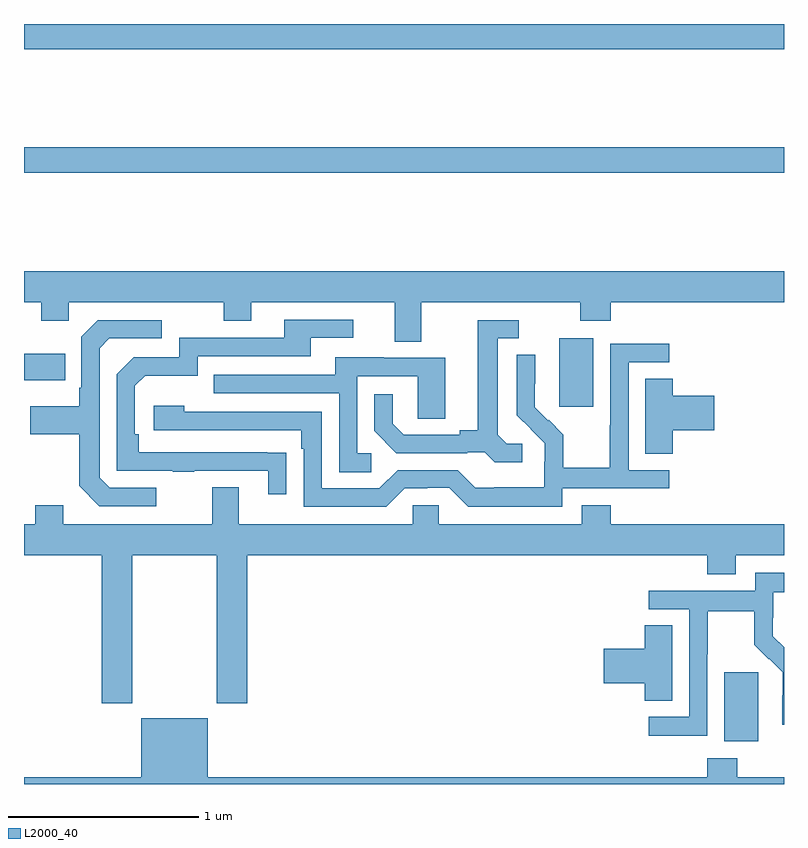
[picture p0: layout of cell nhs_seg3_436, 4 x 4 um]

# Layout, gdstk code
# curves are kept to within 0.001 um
import gdstk
lib = gdstk.Library(unit=1e-6, precision=1e-09)
def R(c, l, rs):  # rectangles x0, y0, x1, y1
    for r in rs: c.add(gdstk.rectangle(r[:2], r[2:], *l))
def P(c, l, *ps):  # polygons
    for p in ps: c.add(gdstk.Polygon(p, *l))
L2000_40 = (2000, 40)

nhs_seg3_436 = lib.new_cell('nhs_seg3_436')
R(nhs_seg3_436, L2000_40, [(136.685,678.626,136.864,678.987), (135.818,680.385,135.997,680.746), (133,680.525,133.217,680.665), (133,681.616,137,681.752), (133,682.268,137,682.4)])
P(nhs_seg3_436, L2000_40, [(135.091,680.936),(135.928,680.936),(135.928,680.837),(136.088,680.837),(136.088,680.936),(137,680.936),(137,681.1),(133,681.1),(133,680.936),(133.09,680.936),(133.09,680.837),(133.236,680.837),(133.236,680.936),(134.05,680.936),(134.05,680.837),(134.197,680.837),(134.197,680.936),(134.951,680.936),(134.951,680.728),(135.091,680.728)],
  [(134.381,680.144),(133.604,680.145),(133.604,680.242),(133.584,680.242),(133.584,680.496),(133.637,680.549),(133.914,680.549),(133.914,680.652),(134.509,680.652),(134.509,680.748),(134.734,680.748),(134.734,680.844),(134.369,680.844),(134.369,680.748),(133.818,680.748),(133.818,680.646),(133.578,680.646),(133.488,680.556),(133.488,680.049),(133.783,680.049),(133.783,680.044),(133.895,680.044),(133.895,680.049),(134.285,680.049),(134.285,679.926),(134.381,679.926)],
  [(133.696,679.959),(133.452,679.959),(133.398,680.013),(133.398,680.694),(133.449,680.745),(133.726,680.745),(133.726,680.841),(133.389,680.841),(133.302,680.754),(133.302,680.485),(133.29,680.485),(133.29,680.389),(133.033,680.389),(133.033,680.242),(133.29,680.242),(133.29,679.969),(133.395,679.863),(133.696,679.863)],
  [(135.622,680.19),(135.54,680.19),(135.493,680.237),(135.493,680.745),(135.604,680.745),(135.604,680.841),(135.389,680.841),(135.389,680.261),(135.293,680.261),(135.293,680.238),(134.998,680.238),(134.941,680.295),(134.941,680.452),(134.844,680.452),(134.844,680.258),(134.96,680.142),(135.332,680.142),(135.332,680.145),(135.426,680.145),(135.478,680.093),(135.622,680.093)],
  [(135.834,679.956),(136.396,679.956),(136.396,680.052),(136.182,680.052),(136.182,680.619),(136.396,680.619),(136.396,680.718),(136.086,680.718),(136.086,680.288),(136.084,680.288),(136.084,680.065),(135.839,680.065),(135.839,680.239),(135.762,680.316),(135.759,680.313),(135.689,680.384),(135.69,680.66),(135.594,680.66),(135.594,680.342),(135.74,680.194),(135.74,680.097),(135.738,680.097),(135.738,679.963),(135.475,679.963),(135.475,679.959),(135.375,679.959),(135.282,680.052),(134.967,680.052),(134.871,679.956),(134.568,679.956),(134.568,680.358),(133.844,680.358),(133.844,680.392),(133.683,680.392),(133.683,680.262),(134.459,680.262),(134.459,680.165),(134.472,680.165),(134.472,679.86),(134.907,679.86),(135.003,679.956),(135.122,679.956),(135.122,679.959),(135.237,679.959),(135.337,679.859),(135.834,679.859)],
  [(134.827,680.142),(134.754,680.142),(134.754,680.547),(135.072,680.547),(135.072,680.323),(135.217,680.323),(135.217,680.643),(134.893,680.643),(134.893,680.647),(134.639,680.647),(134.639,680.553),(133.999,680.553),(133.999,680.457),(134.658,680.457),(134.658,680.041),(134.827,680.041)],
  [(136.415,680.261),(136.633,680.261),(136.633,680.444),(136.415,680.444),(136.415,680.534),(136.271,680.534),(136.271,680.137),(136.415,680.137)],
  [(133.569,679.604),(134.014,679.604),(134.014,678.825),(134.174,678.825),(134.174,679.604),(136.595,679.604),(136.595,679.505),(136.747,679.505),(136.747,679.604),(137,679.604),(137,679.768),(136.088,679.768),(136.088,679.867),(135.935,679.867),(135.935,679.768),(135.183,679.768),(135.183,679.866),(135.045,679.866),(135.045,679.768),(134.131,679.768),(134.131,679.963),(133.991,679.963),(133.991,679.768),(133.207,679.768),(133.207,679.867),(133.06,679.867),(133.06,679.768),(133,679.768),(133,679.604),(133.409,679.604),(133.409,678.825),(133.569,678.825)],
  [(136.596,679.084),(136.599,679.084),(136.599,679.308),(136.843,679.308),(136.843,679.133),(136.92,679.056),(136.923,679.059),(136.994,678.989),(136.994,678.866),(136.992,678.866),(136.992,678.712),(137,678.712),(137,679.12),(136.942,679.178),(136.942,679.275),(136.944,679.275),(136.944,679.409),(137,679.409),(137,679.513),(136.848,679.513),(136.848,679.416),(136.287,679.416),(136.287,679.32),(136.5,679.32),(136.5,678.753),(136.287,678.753),(136.287,678.655),(136.596,678.655)],
  [(136.411,679.235),(136.268,679.235),(136.268,679.112),(136.05,679.112),(136.05,678.929),(136.268,678.929),(136.268,678.838),(136.411,678.838)],
  [(133.966,678.745),(133.616,678.745),(133.616,678.436),(133,678.436),(133,678.4),(137,678.4),(137,678.436),(136.755,678.436),(136.755,678.535),(136.595,678.535),(136.595,678.436),(133.966,678.436)])

lib.write_gds('nhs_seg3_436.gds')
